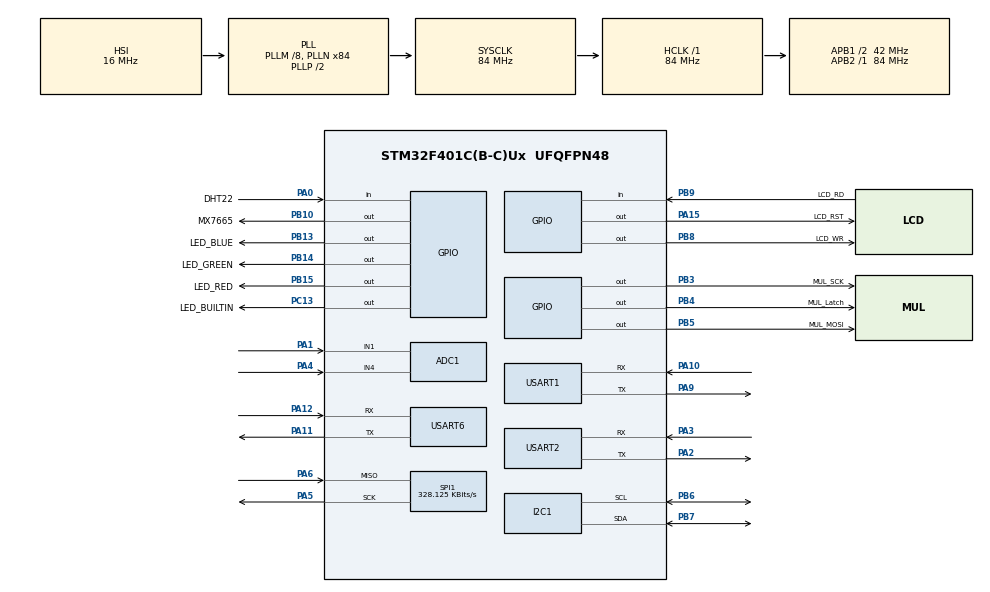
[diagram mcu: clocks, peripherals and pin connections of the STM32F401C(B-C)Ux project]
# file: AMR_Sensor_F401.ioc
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ADC1.Channel-0\#ChannelRegularConversion=ADC_CHANNEL_1
ADC1.Channel-1\#ChannelRegularConversion=ADC_CHANNEL_1
ADC1.ClockPrescaler=ADC_CLOCK_SYNC_PCLK_DIV4
ADC1.ContinuousConvMode=ENABLE
ADC1.NbrOfConversion=2
ADC1.NbrOfConversionFlag=1
ADC1.Rank-0\#ChannelRegularConversion=1
ADC1.Rank-1\#ChannelRegularConversion=2
ADC1.SamplingTime-0\#ChannelRegularConversion=ADC_SAMPLETIME_3CYCLES
ADC1.SamplingTime-1\#ChannelRegularConversion=ADC_SAMPLETIME_3CYCLES
ADC1.ScanConvMode=ENABLE
ADC1.master=1
Dma.Request0=USART1_RX
Dma.Request1=USART2_RX
Dma.Request2=USART6_RX
Dma.USART1_RX.0.Direction=DMA_PERIPH_TO_MEMORY
Dma.USART1_RX.0.FIFOMode=DMA_FIFOMODE_DISABLE
Dma.USART1_RX.0.Instance=DMA2_Stream2
Dma.USART1_RX.0.MemDataAlignment=DMA_MDATAALIGN_BYTE
Dma.USART1_RX.0.MemInc=DMA_MINC_ENABLE
Dma.USART1_RX.0.Mode=DMA_CIRCULAR
Dma.USART1_RX.0.PeriphDataAlignment=DMA_PDATAALIGN_BYTE
Dma.USART1_RX.0.PeriphInc=DMA_PINC_DISABLE
Dma.USART1_RX.0.Priority=DMA_PRIORITY_LOW
Dma.USART2_RX.1.Direction=DMA_PERIPH_TO_MEMORY
Dma.USART2_RX.1.FIFOMode=DMA_FIFOMODE_DISABLE
Dma.USART2_RX.1.Instance=DMA1_Stream5
Dma.USART2_RX.1.MemDataAlignment=DMA_MDATAALIGN_BYTE
Dma.USART2_RX.1.MemInc=DMA_MINC_ENABLE
Dma.USART2_RX.1.Mode=DMA_CIRCULAR
Dma.USART2_RX.1.PeriphDataAlignment=DMA_PDATAALIGN_BYTE
Dma.USART2_RX.1.PeriphInc=DMA_PINC_DISABLE
Dma.USART2_RX.1.Priority=DMA_PRIORITY_LOW
Dma.USART6_RX.2.Direction=DMA_PERIPH_TO_MEMORY
Dma.USART6_RX.2.FIFOMode=DMA_FIFOMODE_DISABLE
Dma.USART6_RX.2.Instance=DMA2_Stream1
Dma.USART6_RX.2.MemDataAlignment=DMA_MDATAALIGN_BYTE
Dma.USART6_RX.2.MemInc=DMA_MINC_ENABLE
Dma.USART6_RX.2.Mode=DMA_CIRCULAR
Dma.USART6_RX.2.PeriphDataAlignment=DMA_PDATAALIGN_BYTE
Dma.USART6_RX.2.PeriphInc=DMA_PINC_DISABLE
Dma.USART6_RX.2.Priority=DMA_PRIORITY_LOW
Mcu.Family=STM32F4
Mcu.Name=STM32F401C(B-C)Ux
Mcu.Package=UFQFPN48
NVIC.DMA1_Stream5_IRQn=true\:0\:0\:false\:false\:true\:false\:true\:true
NVIC.DMA2_Stream1_IRQn=true\:0\:0\:false\:false\:true\:false\:true\:true
NVIC.DMA2_Stream2_IRQn=true\:0\:0\:false\:false\:true\:false\:true\:true
NVIC.PriorityGroup=NVIC_PRIORITYGROUP_4
PA0-WKUP.GPIO_Label=DHT22
PA0-WKUP.Signal=GPIO_Input
PA1.Signal=ADCx_IN1
PA10.Mode=Asynchronous
PA10.Signal=USART1_RX
PA11.Mode=Asynchronous
PA11.Signal=USART6_TX
PA12.Mode=Asynchronous
PA12.Signal=USART6_RX
PA13.Mode=Serial_Wire
PA13.Signal=SYS_JTMS-SWDIO
PA14.Mode=Serial_Wire
PA14.Signal=SYS_JTCK-SWCLK
PA15.GPIO_Label=LCD_RST
PA15.Signal=GPIO_Output
PA2.Mode=Asynchronous
PA2.Signal=USART2_TX
PA3.Mode=Asynchronous
PA3.Signal=USART2_RX
PA4.Signal=ADCx_IN4
PA5.Mode=RX_Only_Simplex_Unidirect_Master
PA5.Signal=SPI1_SCK
PA6.Mode=RX_Only_Simplex_Unidirect_Master
PA6.Signal=SPI1_MISO
PA9.Mode=Asynchronous
PA9.Signal=USART1_TX
PB10.GPIO_Label=MX7665
PB10.Signal=GPIO_Output
PB13.GPIO_Label=LED_BLUE
PB13.Signal=GPIO_Output
PB14.GPIO_Label=LED_GREEN
PB14.Signal=GPIO_Output
PB15.GPIO_Label=LED_RED
PB15.Signal=GPIO_Output
PB3.GPIO_Label=MUL_SCK
PB3.Signal=GPIO_Output
PB4.GPIO_Label=MUL_Latch
PB4.Signal=GPIO_Output
PB5.GPIO_Label=MUL_MOSI
PB5.Signal=GPIO_Output
PB6.Mode=I2C
PB6.Signal=I2C1_SCL
PB7.Mode=I2C
PB7.Signal=I2C1_SDA
PB8.GPIO_Label=LCD_WR
PB8.Signal=GPIO_Output
PB9.GPIO_Label=LCD_RD
PB9.Signal=GPIO_Input
PC13-ANTI_TAMP.GPIO_Label=LED_BUILTIN
PC13-ANTI_TAMP.Signal=GPIO_Output
PH0\ -\ OSC_IN.Mode=HSE-External-Oscillator
PH0\ -\ OSC_IN.Signal=RCC_OSC_IN
PH1\ -\ OSC_OUT.Mode=HSE-External-Oscillator
PH1\ -\ OSC_OUT.Signal=RCC_OSC_OUT
ProjectManager.HeapSize=0x200
ProjectManager.StackSize=0x400
ProjectManager.TargetToolchain=STM32CubeIDE
RCC.48MHZClocksFreq_Value=42000000
RCC.AHBFreq_Value=84000000
RCC.APB1CLKDivider=RCC_HCLK_DIV2
RCC.APB1Freq_Value=42000000
RCC.APB1TimFreq_Value=84000000
RCC.APB2Freq_Value=84000000
RCC.APB2TimFreq_Value=84000000
RCC.CortexFreq_Value=84000000
RCC.HCLKFreq_Value=84000000
RCC.HSE_VALUE=25000000
RCC.HSI_VALUE=16000000
RCC.LSE_VALUE=32768
RCC.PLLM=8
RCC.PLLN=84
RCC.SYSCLKFreq_VALUE=84000000
RCC.SYSCLKSource=RCC_SYSCLKSOURCE_PLLCLK
RCC.VCOOutputFreq_Value=168000000
SH.ADCx_IN1.0=ADC1_IN1,IN1
SH.ADCx_IN4.0=ADC1_IN4,IN4
SPI1.BaudRatePrescaler=SPI_BAUDRATEPRESCALER_256
SPI1.CalculateBaudRate=328.125 KBits/s
SPI1.DataSize=SPI_DATASIZE_16BIT
SPI1.Direction=SPI_DIRECTION_2LINES_RXONLY
SPI1.Mode=SPI_MODE_MASTER
SPI1.VirtualType=VM_MASTER
TIM1.Prescaler=84-1
TIM2.Prescaler=83
USART1.VirtualMode=VM_ASYNC
USART2.VirtualMode=VM_ASYNC
USART6.VirtualMode=VM_ASYNC
VP_TIM1_VS_ClockSourceINT.Mode=Internal
VP_TIM2_VS_ClockSourceINT.Mode=Internal
board=custom

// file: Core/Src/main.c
/* USER CODE BEGIN Header */
/**
  ******************************************************************************
  * @file           : main.c
  * @brief          : Main program body
  ******************************************************************************
  * @attention
  *
  * Copyright (c) 2024 STMicroelectronics.
  * All rights reserved.
  *
  * This software is licensed under terms that can be found in the LICENSE file
  * in the root directory of this software component.
  * If no LICENSE file comes with this software, it is provided AS-IS.
  *
  ******************************************************************************
  */
/* USER CODE END Header */
#include "main.h"

/* USER CODE BEGIN Includes */
#include 	"Voltage_Current.h"
#include 	"HX711.h"
#include 	"MAX6675.h"
#include 	<stdint.h>
#include 	<string.h>
#include 	<stdio.h>
#include 	"bno055.h"
#include	"loadcell.h"

#include 	"communication_full.h"
/* USER CODE END Includes */

/* USER CODE BEGIN PTD */
#define		USE_VOLT_CURRENT
#define		USE_LOADCELL
#define		USE_COM_CONTROL
#define		USE_COM_PC
#define 	USE_IMU
#define		USE_LCD

/////////////////////////////// INTERVAL TIME ///////////////////////////////////
#define		TEMP_INTERVAL		1000
#define		CURRENT_INTERVAL	1000
#define		VOLTAGE_INTERVAL	1000
#define		SENSOR_INTERVAL		1000
#define		BNO08X_INTERVAL		50
/* USER CODE END PTD */

/* USER CODE BEGIN PD */

// Typedef Voltage
Voltage_Current_Typedef Volt_Current_Data;

// Typedef Loadcell
hx711_t Loadcell_Data;

// Typedef All Sensor Data
sensor_package_t Sensor_Data;

// Typedef Communication PC
com_pc_get_t message_from_pc;

// Typedef Communication Control
com_ctrl_get_t message_from_ctrl;

// Typedef IMU Control
BNO055_Typedef BNO055_Data;
bno055_t bno;
error_bno err;
s8 temperature = 0;
bno055_euler_t eul = {0, 0, 0};
bno055_vec3_t lia = {0, 0, 0};
float weight = 0;
/* USER CODE END PD */

ADC_HandleTypeDef hadc1;

I2C_HandleTypeDef hi2c1;

extern SPI_HandleTypeDef hspi1;

TIM_HandleTypeDef htim1;
TIM_HandleTypeDef htim2;

UART_HandleTypeDef huart1;
UART_HandleTypeDef huart2;
UART_HandleTypeDef huart6;
DMA_HandleTypeDef hdma_usart1_rx;
DMA_HandleTypeDef hdma_usart2_rx;
DMA_HandleTypeDef hdma_usart6_rx;

/* USER CODE BEGIN PV */
// Buffer Sending Data
uint32_t CurrentTick = 0,
		 TempTick = 0,
		 VoltageTick = 0,
		 BNO08XTick = 0,
		 LoadcellTick = 0,
		 SensorTick = 0;
/* USER CODE END PV */

void SystemClock_Config(void);
static void MX_GPIO_Init(void);
static void MX_DMA_Init(void);
static void MX_ADC1_Init(void);
static void MX_USART1_UART_Init(void);
static void MX_USART2_UART_Init(void);
static void MX_USART6_UART_Init(void);
static void MX_TIM1_Init(void);
static void MX_SPI1_Init(void);
static void MX_I2C1_Init(void);
static void MX_TIM2_Init(void);

/* USER CODE BEGIN 0 */
uint16_t id_astar= 0;
////////////////////////////////////// COMMUNICATION CALLBACK ////////////////////////////////////

void HAL_UART_RxCpltCallback(UART_HandleTypeDef *huart)
{
	if (huart == &huart1) {
	    // Callback for Communicate to PC
		#ifdef USE_COM_PC
		rx_pc_get(&message_from_pc);
		#endif

	} else if(huart == &huart6){

		// Callback Receive data from STM32 Control
		#ifdef USE_COM_CONTROL
		rx_ctrl_get(&message_from_ctrl);

		#endif
	}
}
/* USER CODE END 0 */

int main(void)
{

  /* MCU Configuration--------------------------------------------------------*/

  /* Reset of all peripherals, Initializes the Flash interface and the Systick. */
  HAL_Init();

  /* Configure the system clock */
  SystemClock_Config();

  /* Initialize all configured peripherals */
  MX_GPIO_Init();
  MX_DMA_Init();
  MX_ADC1_Init();
  MX_USART1_UART_Init();
  MX_USART2_UART_Init();
  MX_USART6_UART_Init();
  MX_TIM1_Init();
  MX_SPI1_Init();
  MX_I2C1_Init();
  MX_TIM2_Init();
  /* USER CODE BEGIN 2 */
  ////////////////////////////////////// SENSOR INITIALIZATION ////////////////////////////////////

    // Volt & Current Initialization
    #ifdef USE_VOLT_CURRENT
    VoltCurrent_Init(&hadc1);
    #endif

    // Load cell Initialization
    init_loadcell(&htim2);

    // Initialize Communication to Control
    #ifdef USE_COM_CONTROL
    komunikasi_ctrl_init(&huart6);
    rx_ctrl_start_get();
    #endif

    // Initialize Communication to PC
    #ifdef USE_COM_PC
    komunikasi_pc_init(&huart1);
    rx_pc_start_get();
    #endif

    // IMU Initialization
	#ifdef USE_IMU
    bno055_start(&bno,&err,&hi2c1);
	#endif

  /* USER CODE END 2 */

  /* Infinite loop */
  /* USER CODE BEGIN WHILE */
//    HAL_GPIO_WritePin(GPIOC, GPIO_PIN_13, GPIO_PIN_RESET);
  while (1)
  {

	  	  ////////////////////////////////////// ASYNCHRONOUS READING & SENDING ///////////////////////////////////////////

	  CurrentTick = HAL_GetTick();

	  if(CurrentTick-SensorTick > 300){

//		   Reading Data in MX7655 Sensor
//		  Sensor_Data.temperature = (Max6675_Read_Temp()*100);

//		   Reading Data in Voltage Sensor
//		  Get_Voltage_Measurement(&Volt_Current_Data);
//		  Sensor_Data.voltage = (Volt_Current_Data.voltage*100);

//		   Reading Data in Current Sensor
//		  Get_Current_Measurement(&Volt_Current_Data);
//		  Sensor_Data.current = (Volt_Current_Data.current*100);

//		   Reading Data Loadcell
//	  	  weight = (get_weight_loadcell()/10000);

//		   Sending Sensor Data
//		  tx_pc_send_Sensor(Sensor_Data);

//		   Sending Odometry Data
		  tx_pc_send_Odometry(message_from_ctrl.x_pos,message_from_ctrl.y_pos,message_from_ctrl.t_pos,message_from_ctrl.x_vel,message_from_ctrl.y_vel,message_from_ctrl.t_vel);

//		   Sending BNO055 Data
		  get_euler_imu(&bno,&eul,&lia,&temperature,&BNO055_Data);
		  tx_pc_send_BNO055(BNO055_Data);

		  SensorTick = CurrentTick;
	  }
	  ////////////////////////////////////// SENDING DATA TO CONTROL ///////////////////////////

	  // Sending BNO08X Data
	  tx_ctrl_send_Astar();
	  tx_ctrl_send_Command();

	  // Sending Data From CTRL To PC
//	  tx_pc_send_data(message_from_ctrl.data1,message_from_ctrl.data2,message_from_ctrl.data3,message_from_ctrl.data4,message_from_ctrl.data5,message_from_ctrl.data6,message_from_ctrl.data7);

//	   Reading IMU Data
	  get_euler_imu(&bno,&eul,&lia,&temperature,&BNO055_Data);
//	  tx_pc_send_Odometry(message_from_ctrl.x_pos,message_from_ctrl.y_pos,message_from_ctrl.t_pos,message_from_ctrl.x_vel,message_from_ctrl.y_vel,message_from_ctrl.t_vel);
	  tx_ctrl_send_BNO055(BNO055_Data);
//	  tx_pc_send_BNO055(BNO055_Data);

    /* USER CODE END WHILE */

  }
}

void SystemClock_Config(void)
{
  RCC_OscInitTypeDef RCC_OscInitStruct = {0};
  RCC_ClkInitTypeDef RCC_ClkInitStruct = {0};

  /** Configure the main internal regulator output voltage
  */
  __HAL_RCC_PWR_CLK_ENABLE();
  __HAL_PWR_VOLTAGESCALING_CONFIG(PWR_REGULATOR_VOLTAGE_SCALE2);

  /** Initializes the RCC Oscillators according to the specified parameters
  * in the RCC_OscInitTypeDef structure.
  */
  RCC_OscInitStruct.OscillatorType = RCC_OSCILLATORTYPE_HSI;
  RCC_OscInitStruct.HSIState = RCC_HSI_ON;
  RCC_OscInitStruct.HSICalibrationValue = RCC_HSICALIBRATION_DEFAULT;
  RCC_OscInitStruct.PLL.PLLState = RCC_PLL_ON;
  RCC_OscInitStruct.PLL.PLLSource = RCC_PLLSOURCE_HSI;
  RCC_OscInitStruct.PLL.PLLM = 8;
  RCC_OscInitStruct.PLL.PLLN = 84;
  RCC_OscInitStruct.PLL.PLLP = RCC_PLLP_DIV2;
  RCC_OscInitStruct.PLL.PLLQ = 4;
  if (HAL_RCC_OscConfig(&RCC_OscInitStruct) != HAL_OK)
  {
    Error_Handler();
  }

  /** Initializes the CPU, AHB and APB buses clocks
  */
  RCC_ClkInitStruct.ClockType = RCC_CLOCKTYPE_HCLK|RCC_CLOCKTYPE_SYSCLK
                              |RCC_CLOCKTYPE_PCLK1|RCC_CLOCKTYPE_PCLK2;
  RCC_ClkInitStruct.SYSCLKSource = RCC_SYSCLKSOURCE_PLLCLK;
  RCC_ClkInitStruct.AHBCLKDivider = RCC_SYSCLK_DIV1;
  RCC_ClkInitStruct.APB1CLKDivider = RCC_HCLK_DIV2;
  RCC_ClkInitStruct.APB2CLKDivider = RCC_HCLK_DIV1;

  if (HAL_RCC_ClockConfig(&RCC_ClkInitStruct, FLASH_LATENCY_2) != HAL_OK)
  {
    Error_Handler();
  }
}

static void MX_ADC1_Init(void)
{

//  ADC_ChannelConfTypeDef sConfig = {0};

  /** Configure the global features of the ADC (Clock, Resolution, Data Alignment and number of conversion)
  */
  hadc1.Instance = ADC1;
  hadc1.Init.ClockPrescaler = ADC_CLOCK_SYNC_PCLK_DIV4;
  hadc1.Init.Resolution = ADC_RESOLUTION_12B;
  hadc1.Init.ScanConvMode = ENABLE;
  hadc1.Init.ContinuousConvMode = ENABLE;
  hadc1.Init.DiscontinuousConvMode = DISABLE;
  hadc1.Init.ExternalTrigConvEdge = ADC_EXTERNALTRIGCONVEDGE_NONE;
  hadc1.Init.ExternalTrigConv = ADC_SOFTWARE_START;
  hadc1.Init.DataAlign = ADC_DATAALIGN_RIGHT;
  hadc1.Init.NbrOfConversion = 1;
  hadc1.Init.DMAContinuousRequests = DISABLE;
  hadc1.Init.EOCSelection = ADC_EOC_SINGLE_CONV;
  if (HAL_ADC_Init(&hadc1) != HAL_OK)
  {
    Error_Handler();
  }

  /** Configure for the selected ADC regular channel its corresponding rank in the sequencer and its sample time.
  */
//  sConfig.Channel = ADC_CHANNEL_1;
//  sConfig.Rank = 1;
//  sConfig.SamplingTime = ADC_SAMPLETIME_3CYCLES;
//  if (HAL_ADC_ConfigChannel(&hadc1, &sConfig) != HAL_OK)
//  {
//    Error_Handler();
//  }

  /** Configure for the selected ADC regular channel its corresponding rank in the sequencer and its sample time.
  */
//  sConfig.Rank = 2;
//  if (HAL_ADC_ConfigChannel(&hadc1, &sConfig) != HAL_OK)
//  {
//    Error_Handler();
//  }

}

static void MX_I2C1_Init(void)
{

  hi2c1.Instance = I2C1;
  hi2c1.Init.ClockSpeed = 100000;
  hi2c1.Init.DutyCycle = I2C_DUTYCYCLE_2;
  hi2c1.Init.OwnAddress1 = 0;
  hi2c1.Init.AddressingMode = I2C_ADDRESSINGMODE_7BIT;
  hi2c1.Init.DualAddressMode = I2C_DUALADDRESS_DISABLE;
  hi2c1.Init.OwnAddress2 = 0;
  hi2c1.Init.GeneralCallMode = I2C_GENERALCALL_DISABLE;
  hi2c1.Init.NoStretchMode = I2C_NOSTRETCH_DISABLE;
  if (HAL_I2C_Init(&hi2c1) != HAL_OK)
  {
    Error_Handler();
  }

}

static void MX_SPI1_Init(void)
{

  /* SPI1 parameter configuration*/
  hspi1.Instance = SPI1;
  hspi1.Init.Mode = SPI_MODE_MASTER;
  hspi1.Init.Direction = SPI_DIRECTION_2LINES_RXONLY;
  hspi1.Init.DataSize = SPI_DATASIZE_16BIT;
  hspi1.Init.CLKPolarity = SPI_POLARITY_LOW;
  hspi1.Init.CLKPhase = SPI_PHASE_1EDGE;
  hspi1.Init.NSS = SPI_NSS_SOFT;
  hspi1.Init.BaudRatePrescaler = SPI_BAUDRATEPRESCALER_256;
  hspi1.Init.FirstBit = SPI_FIRSTBIT_MSB;
  hspi1.Init.TIMode = SPI_TIMODE_DISABLE;
  hspi1.Init.CRCCalculation = SPI_CRCCALCULATION_DISABLE;
  hspi1.Init.CRCPolynomial = 10;
  if (HAL_SPI_Init(&hspi1) != HAL_OK)
  {
    Error_Handler();
  }

}

static void MX_TIM1_Init(void)
{

  TIM_ClockConfigTypeDef sClockSourceConfig = {0};
  TIM_MasterConfigTypeDef sMasterConfig = {0};

  htim1.Instance = TIM1;
  htim1.Init.Prescaler = 84-1;
  htim1.Init.CounterMode = TIM_COUNTERMODE_UP;
  htim1.Init.Period = 65535;
  htim1.Init.ClockDivision = TIM_CLOCKDIVISION_DIV1;
  htim1.Init.RepetitionCounter = 0;
  htim1.Init.AutoReloadPreload = TIM_AUTORELOAD_PRELOAD_DISABLE;
  if (HAL_TIM_Base_Init(&htim1) != HAL_OK)
  {
    Error_Handler();
  }
  sClockSourceConfig.ClockSource = TIM_CLOCKSOURCE_INTERNAL;
  if (HAL_TIM_ConfigClockSource(&htim1, &sClockSourceConfig) != HAL_OK)
  {
    Error_Handler();
  }
  sMasterConfig.MasterOutputTrigger = TIM_TRGO_RESET;
  sMasterConfig.MasterSlaveMode = TIM_MASTERSLAVEMODE_DISABLE;
  if (HAL_TIMEx_MasterConfigSynchronization(&htim1, &sMasterConfig) != HAL_OK)
  {
    Error_Handler();
  }

}

static void MX_TIM2_Init(void)
{

  TIM_ClockConfigTypeDef sClockSourceConfig = {0};
  TIM_MasterConfigTypeDef sMasterConfig = {0};

  htim2.Instance = TIM2;
  htim2.Init.Prescaler = 83;
  htim2.Init.CounterMode = TIM_COUNTERMODE_UP;
  htim2.Init.Period = 4294967295;
  htim2.Init.ClockDivision = TIM_CLOCKDIVISION_DIV1;
  htim2.Init.AutoReloadPreload = TIM_AUTORELOAD_PRELOAD_DISABLE;
  if (HAL_TIM_Base_Init(&htim2) != HAL_OK)
  {
    Error_Handler();
  }
  sClockSourceConfig.ClockSource = TIM_CLOCKSOURCE_INTERNAL;
  if (HAL_TIM_ConfigClockSource(&htim2, &sClockSourceConfig) != HAL_OK)
  {
    Error_Handler();
  }
  sMasterConfig.MasterOutputTrigger = TIM_TRGO_RESET;
  sMasterConfig.MasterSlaveMode = TIM_MASTERSLAVEMODE_DISABLE;
  if (HAL_TIMEx_MasterConfigSynchronization(&htim2, &sMasterConfig) != HAL_OK)
  {
    Error_Handler();
  }

}

static void MX_USART1_UART_Init(void)
{

  huart1.Instance = USART1;
  huart1.Init.BaudRate = 115200;
  huart1.Init.WordLength = UART_WORDLENGTH_8B;
  huart1.Init.StopBits = UART_STOPBITS_1;
  huart1.Init.Parity = UART_PARITY_NONE;
  huart1.Init.Mode = UART_MODE_TX_RX;
  huart1.Init.HwFlowCtl = UART_HWCONTROL_NONE;
  huart1.Init.OverSampling = UART_OVERSAMPLING_16;
  if (HAL_UART_Init(&huart1) != HAL_OK)
  {
    Error_Handler();
  }

}

static void MX_USART2_UART_Init(void)
{

  huart2.Instance = USART2;
  huart2.Init.BaudRate = 115200;
  huart2.Init.WordLength = UART_WORDLENGTH_8B;
  huart2.Init.StopBits = UART_STOPBITS_1;
  huart2.Init.Parity = UART_PARITY_NONE;
  huart2.Init.Mode = UART_MODE_TX_RX;
  huart2.Init.HwFlowCtl = UART_HWCONTROL_NONE;
  huart2.Init.OverSampling = UART_OVERSAMPLING_16;
  if (HAL_UART_Init(&huart2) != HAL_OK)
  {
    Error_Handler();
  }

}

static void MX_USART6_UART_Init(void)
{

  huart6.Instance = USART6;
  huart6.Init.BaudRate = 115200;
  huart6.Init.WordLength = UART_WORDLENGTH_8B;
  huart6.Init.StopBits = UART_STOPBITS_1;
  huart6.Init.Parity = UART_PARITY_NONE;
  huart6.Init.Mode = UART_MODE_TX_RX;
  huart6.Init.HwFlowCtl = UART_HWCONTROL_NONE;
  huart6.Init.OverSampling = UART_OVERSAMPLING_16;
  if (HAL_UART_Init(&huart6) != HAL_OK)
  {
    Error_Handler();
  }

}

static void MX_DMA_Init(void)
{

  /* DMA controller clock enable */
  __HAL_RCC_DMA2_CLK_ENABLE();
  __HAL_RCC_DMA1_CLK_ENABLE();

  /* DMA interrupt init */
  /* DMA1_Stream5_IRQn interrupt configuration */
  HAL_NVIC_SetPriority(DMA1_Stream5_IRQn, 0, 0);
  HAL_NVIC_EnableIRQ(DMA1_Stream5_IRQn);
  /* DMA2_Stream1_IRQn interrupt configuration */
  HAL_NVIC_SetPriority(DMA2_Stream1_IRQn, 0, 0);
  HAL_NVIC_EnableIRQ(DMA2_Stream1_IRQn);
  /* DMA2_Stream2_IRQn interrupt configuration */
  HAL_NVIC_SetPriority(DMA2_Stream2_IRQn, 0, 0);
  HAL_NVIC_EnableIRQ(DMA2_Stream2_IRQn);

}

static void MX_GPIO_Init(void)
{
  GPIO_InitTypeDef GPIO_InitStruct = {0};

  /* GPIO Ports Clock Enable */
  __HAL_RCC_GPIOC_CLK_ENABLE();
  __HAL_RCC_GPIOH_CLK_ENABLE();
  __HAL_RCC_GPIOA_CLK_ENABLE();
  __HAL_RCC_GPIOB_CLK_ENABLE();

  /*Configure GPIO pin Output Level */
  HAL_GPIO_WritePin(LED_BUILTIN_GPIO_Port, LED_BUILTIN_Pin, GPIO_PIN_RESET);

  /*Configure GPIO pin Output Level */
  HAL_GPIO_WritePin(GPIOB, MX7665_Pin|LED_BLUE_Pin|LED_GREEN_Pin|LED_RED_Pin
                          |MUL_SCK_Pin|MUL_Latch_Pin|MUL_MOSI_Pin|LCD_WR_Pin, GPIO_PIN_RESET);

  /*Configure GPIO pin Output Level */
  HAL_GPIO_WritePin(LCD_RST_GPIO_Port, LCD_RST_Pin, GPIO_PIN_RESET);

  /*Configure GPIO pin : LED_BUILTIN_Pin */
  GPIO_InitStruct.Pin = LED_BUILTIN_Pin;
  GPIO_InitStruct.Mode = GPIO_MODE_OUTPUT_PP;
  GPIO_InitStruct.Pull = GPIO_NOPULL;
  GPIO_InitStruct.Speed = GPIO_SPEED_FREQ_LOW;
  HAL_GPIO_Init(LED_BUILTIN_GPIO_Port, &GPIO_InitStruct);

  /*Configure GPIO pin : DHT22_Pin */
  GPIO_InitStruct.Pin = DHT22_Pin;
  GPIO_InitStruct.Mode = GPIO_MODE_INPUT;
  GPIO_InitStruct.Pull = GPIO_NOPULL;
  HAL_GPIO_Init(DHT22_GPIO_Port, &GPIO_InitStruct);

  /*Configure GPIO pins : MX7665_Pin LED_BLUE_Pin LED_GREEN_Pin LED_RED_Pin
                           MUL_SCK_Pin MUL_Latch_Pin MUL_MOSI_Pin LCD_WR_Pin */
  GPIO_InitStruct.Pin = MX7665_Pin|LED_BLUE_Pin|LED_GREEN_Pin|LED_RED_Pin
                          |MUL_SCK_Pin|MUL_Latch_Pin|MUL_MOSI_Pin|LCD_WR_Pin;
  GPIO_InitStruct.Mode = GPIO_MODE_OUTPUT_PP;
  GPIO_InitStruct.Pull = GPIO_NOPULL;
  GPIO_InitStruct.Speed = GPIO_SPEED_FREQ_LOW;
  HAL_GPIO_Init(GPIOB, &GPIO_InitStruct);

  /*Configure GPIO pin : LCD_RST_Pin */
  GPIO_InitStruct.Pin = LCD_RST_Pin;
  GPIO_InitStruct.Mode = GPIO_MODE_OUTPUT_PP;
  GPIO_InitStruct.Pull = GPIO_NOPULL;
  GPIO_InitStruct.Speed = GPIO_SPEED_FREQ_LOW;
  HAL_GPIO_Init(LCD_RST_GPIO_Port, &GPIO_InitStruct);

  /*Configure GPIO pin : LCD_RD_Pin */
  GPIO_InitStruct.Pin = LCD_RD_Pin;
  GPIO_InitStruct.Mode = GPIO_MODE_INPUT;
  GPIO_InitStruct.Pull = GPIO_NOPULL;
  HAL_GPIO_Init(LCD_RD_GPIO_Port, &GPIO_InitStruct);

}

void Error_Handler(void)
{
  __disable_irq();
  while (1)
  {
  }
}
